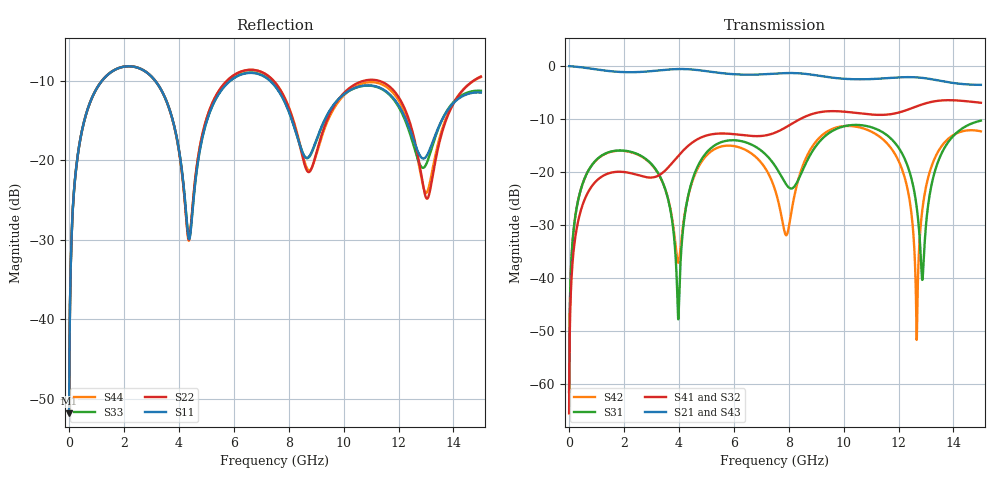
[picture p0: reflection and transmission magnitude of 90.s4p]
! Created with skrf 1.8.0 (http://scikit-rf.org).
# GHz S RI R 50.0
!freq ReS11 ImS11 ReS12 ImS12 ReS13 ImS13
! ReS14 ImS14
! ReS21 ImS21 ReS22 ImS22 ReS23 ImS23
! ReS24 ImS24
! ReS31 ImS31 ReS32 ImS32 ReS33 ImS33
! ReS34 ImS34
! ReS41 ImS41 ReS42 ImS42 ReS43 ImS43
! ReS44 ImS44
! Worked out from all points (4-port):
!   2499 points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, 5 MHz to 15 GHz, reference 50 ohm
!   strongest paths, dB at 5 MHz, 3.476 GHz, 7.19 GHz, 11.1 GHz, 15 GHz:
!     S21: 0.0, -0.7, -1.5, -2.4, -3.5
!     S43: 0.0, -0.7, -1.5, -2.4, -3.5
!     S41: -65.5, -19.8, -13.0, -9.2, -6.9
!     S32: -65.5, -19.8, -13.1, -9.3, -7.0
!     S31: -61.4, -22.8, -16.8, -11.7, -10.3
!     S42: -61.4, -22.8, -19.6, -12.6, -12.3
!   lowest |S11| = -51.8 dB at 5 MHz (marker M1), VSWR 1.01, Z = 50.2 + j0.156 ohm
!   |S11| at or under -10 dB: start of sweep to 1.198 GHz; 3.144 GHz to 5.871 GHz (2.727 GHz wide, 60.5 % of centre); 7.322 GHz to end of sweep
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0.005  0.00205 0.00155  0.9979 -0.00398  0.000105 0.00084  -0.000102 -0.000523
       0.9979 -0.00398  0.00205 0.00155  -0.000102 -0.000523  0.000105 0.00084
       0.000105 0.00084  -0.000102 -0.000523  0.00205 0.00155  0.9979 -0.00398
       -0.000102 -0.000523  0.000105 0.00084  0.9979 -0.00398  0.00205 0.00155
1.269279  0.2769 0.1739  0.5332 -0.7369  0.1345 0.0601  -0.0932 -0.00349
          0.5332 -0.7369  0.2776 0.1734  -0.0931 -0.00362  0.1328 0.0623
          0.1345 0.0601  -0.0931 -0.00362  0.2769 0.1738  0.5333 -0.7369
          -0.0932 -0.00349  0.1328 0.0623  0.5333 -0.7369  0.2775 0.1734
3.98291  0.0608 -0.1069  -0.875 -0.3363  -0.00411 0.000148  -0.0464 0.1349
         -0.875 -0.3363  0.0593 -0.106  -0.048 0.1343  -0.0138 -0.0023
         -0.00411 0.000148  -0.048 0.1343  0.0608 -0.1064  -0.8751 -0.3363
         -0.0464 0.1349  -0.0138 -0.0023  -0.8751 -0.3363  0.0589 -0.1056
6.740308  0.3536 -0.0162  -0.022 0.83  0.1384 -0.11  0.2111 -0.0572
          -0.022 0.83  0.3686 -0.0358  0.2108 -0.0525  0.1337 -0.0523
          0.1384 -0.11  0.2108 -0.0525  0.3555 -0.0187  -0.0224 0.8296
          0.2111 -0.0572  0.1337 -0.0523  -0.0224 0.8296  0.369 -0.0333
11.39225  0.2733 -0.0725  -0.00563 -0.7635  0.194 -0.1419  -0.3347 0.0903
          -0.00563 -0.7635  0.2959 -0.0998  -0.3336 0.0775  0.1893 -0.0861
          0.194 -0.1419  -0.3336 0.0775  0.2691 -0.0801  -0.00468 -0.7659
          -0.3347 0.0903  0.1893 -0.0861  -0.00468 -0.7659  0.2865 -0.0916
12.66153  0.1097 -0.0464  -0.6303 -0.4635  -0.012 -0.0455  -0.2257 0.3507
          -0.6303 -0.4635  0.077 -0.0884  -0.2403 0.3403  -0.00243 -0.000994
          -0.012 -0.0455  -0.2403 0.3403  0.0966 -0.046  -0.6315 -0.464
          -0.2257 0.3507  -0.00243 -0.000994  -0.6315 -0.464  0.0796 -0.076
15  0.2668 -0.00811  -0.3911 0.5382  0.2889 -0.1003  0.4223 0.1585
    -0.3911 0.5382  0.3348 0.0405  0.4127 0.1739  0.2413 0.0241
    0.2889 -0.1003  0.4127 0.1739  0.2741 -0.00638  -0.3931 0.5361
    0.4223 0.1585  0.2413 0.0241  -0.3931 0.5361  0.3316 0.0412
